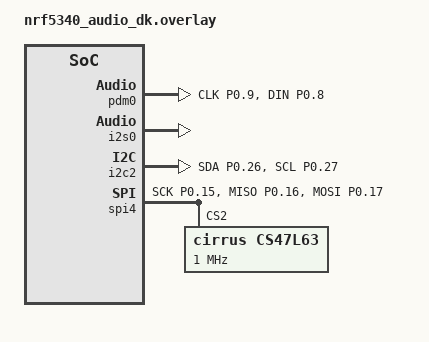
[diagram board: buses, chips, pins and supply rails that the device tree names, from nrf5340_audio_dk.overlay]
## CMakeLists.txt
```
cmake_minimum_required(VERSION 3.20.0)

find_package(Zephyr REQUIRED HINTS $ENV{ZEPHYR_BASE})
project(secondApp)

target_sources(app PRIVATE src/main.c)
```

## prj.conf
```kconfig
# Enable PDM peripheral and dependencies
CONFIG_NRFX_PDM0=y
CONFIG_DMA=y
CONFIG_I2S=y
CONFIG_I2C=y
CONFIG_I2C_NRFX=y
CONFIG_AUDIO_CODEC=y
CONFIG_I2S_NRFX=y
CONFIG_AUDIO=y
CONFIG_AUDIO_CODEC=y
CONFIG_AUDIO_DMIC=y
CONFIG_GPIO=y
# Optional: Enable logging for debugging
CONFIG_LOG=y
CONFIG_LOG_DEFAULT_LEVEL=3
CONFIG_FPU=y
CONFIG_LOG_BUFFER_SIZE=8192

# Increase stack size for processing
CONFIG_MAIN_STACK_SIZE=4096
CONFIG_HEAP_MEM_POOL_SIZE=2048

CONFIG_SPI=y
CONFIG_SPI_NRFX=y
```

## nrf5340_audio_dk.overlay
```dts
&pdm0 {
    status = "okay";
    pinctrl-0 = <&pdm_default>;
    pinctrl-names = "default";
};

&pinctrl {
    pdm_default: pdm_default {
        group1 {
            psels = <NRF_PSEL(PDM_CLK, 0, 9)>,
                    <NRF_PSEL(PDM_DIN, 0, 8)>;
        };
    };
    
    i2c2_default: i2c2_default {
        group1 {
            psels = <NRF_PSEL(TWIM_SDA, 0, 26)>,
                    <NRF_PSEL(TWIM_SCL, 0, 27)>;
            bias-pull-up;
        };
    };

    spi0_default: spi0_default {
        group1 {
            psels = <NRF_PSEL(SPIM_SCK, 0, 15)>,  /* SCK */
                    <NRF_PSEL(SPIM_MISO, 0, 16)>, /* MISO */
                    <NRF_PSEL(SPIM_MOSI, 0, 17)>; /* MOSI */
            bias-pull-up;
        };
    };
    spi0_sleep: spi0_sleep {
        group1 {
            psels = <NRF_PSEL(SPIM_SCK, 0, 15)>,  /* SCK */
                    <NRF_PSEL(SPIM_MISO, 0, 16)>, /* MISO */
                    <NRF_PSEL(SPIM_MOSI, 0, 17)>; /* MOSI */
            bias-pull-down;
        };
    };
};

&i2s0 {
    status = "okay";
};

&i2c2 {
    status = "okay";
    compatible = "nordic,nrf-twim";
    pinctrl-0 = <&i2c2_default>;
    pinctrl-names = "default";
};

&spi4 {
    status = "okay";
    pinctrl-0 = <&spi0_default>;
    pinctrl-names = "default", "sleep";

    cs47l63: cs47l63@2 {
        compatible = "cirrus,cs47l63";
        reg = <0x2>;  /* Chip Select */
        spi-max-frequency = <1000000>;  /* 1 MHz SPI speed */
        status = "okay";
    };
};
```

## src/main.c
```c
#include <nrfx_pdm.h>
#include <zephyr/kernel.h>
#include <zephyr/drivers/i2s.h>
#include <zephyr/drivers/i2c.h>
#include <zephyr/logging/log.h>
#include <zephyr/drivers/gpio.h>
#include <math.h>
#include <zephyr/drivers/spi.h>

LOG_MODULE_REGISTER(cs47l63_init, LOG_LEVEL_INF);


#define PDM_CLK_PIN 9  // Pin P0.09 for PDM clock
#define PDM_DIN_PIN 8  // Pin P0.08 for PDM data
#define I2S_DEV DEVICE_DT_GET(DT_NODELABEL(i2s0))
#define CODEC_DEV DEVICE_DT_GET(DT_NODELABEL(cs47l63))
#define CS47L63_ADDR 0x2  // I2C address of CS47L63

// Buffer for PDM audio data
static int16_t pdm_buffer[128];




#define CS47L63_SPI_DEV DEVICE_DT_GET(DT_NODELABEL(spi4))
#define CS47L63_CS_PIN  12  // Ensure this matches your overlay

#define CODEC_DEV DEVICE_DT_GET(DT_NODELABEL(cs47l63))
#define CS47L63_POWER_CTRL  0x0002
#define CS47L63_SAMPLE_RATE 0x0010
#define CS47L63_HEADPHONE   0x0020

void cs47l63_write_reg(uint16_t reg, uint16_t value) {
    struct spi_config spi_cfg = {
        .operation = SPI_OP_MODE_MASTER | SPI_TRANSFER_MSB | SPI_WORD_SET(8),
        .frequency = 1000000,  // 1 MHz SPI Clock
        .slave = 0,  // SPI device ID
    };

    uint8_t tx_data[4] = {
        (reg >> 8) & 0xFF, reg & 0xFF,
        (value >> 8) & 0xFF, value & 0xFF
    };

    struct spi_buf tx_buf = { .buf = tx_data, .len = sizeof(tx_data) };
    struct spi_buf_set tx = { .buffers = &tx_buf, .count = 1 };

    int ret = spi_transceive(CS47L63_SPI_DEV, &spi_cfg, &tx, NULL);
    if (ret) {
        LOG_ERR("Failed to write CS47L63 register: 0x%04X", reg);
    }
}

void init_cs47l63() {
    if (!device_is_ready(CS47L63_SPI_DEV)) {
        LOG_ERR("SPI device not ready!");
        return;
    }

    LOG_INF("Initializing CS47L63 Codec...");

    // Power on the codec
    cs47l63_write_reg(CS47L63_POWER_CTRL, 0x0001);
    
    // Set sample rate to 16kHz
    cs47l63_write_reg(CS47L63_SAMPLE_RATE, 0x3E80);  

    // Enable headphone output
    cs47l63_write_reg(CS47L63_HEADPHONE, 0x0001);

    LOG_INF("CS47L63 Initialized!");
}



//Send PCM data to the codec
void send_pcm_to_codec(int16_t *buffer, size_t size) {
    struct i2s_config i2s_cfg = {
        .word_size = 16,
        .channels = 2,  // Stereo output
        .format = I2S_FMT_DATA_FORMAT_I2S,
        .frame_clk_freq = 16000,  // Match PDM sample rate
    };

    i2s_configure(I2S_DEV, I2S_DIR_TX, &i2s_cfg);
    i2s_write(I2S_DEV, buffer, size * sizeof(int16_t));
}




// PDM instance
static nrfx_pdm_t pdm_instance = NRFX_PDM_INSTANCE(0);

static void pdm_event_handler(nrfx_pdm_evt_t const *event) {
    if (event->error) {
        LOG_ERR("PDM error: %d", event->error);
        return;
    }

    if (event->buffer_requested) {
        nrfx_pdm_buffer_set(&pdm_instance, pdm_buffer, ARRAY_SIZE(pdm_buffer));
    }

    if (event->buffer_released) {
        if (event->buffer_released == NULL) {
            LOG_ERR("PDM buffer is NULL!");
            return;
        }

        // Invert PCM signal
        for (size_t i = 0; i < ARRAY_SIZE(pdm_buffer); i++) {
            pdm_buffer[i] = -event->buffer_released[i];
        }

        // Send inverted PCM to CS47L63 via I2S
        send_pcm_to_codec(pdm_buffer, ARRAY_SIZE(pdm_buffer));
    }
}

int main(void) {
    

    nrfx_pdm_config_t pdm_config = NRFX_PDM_DEFAULT_CONFIG(PDM_CLK_PIN, PDM_DIN_PIN);
    pdm_config.clock_freq = NRF_PDM_FREQ_1333K;  // Set an appropriate clock frequency
    pdm_config.gain_l = NRF_PDM_GAIN_DEFAULT;
    pdm_config.gain_r = NRF_PDM_GAIN_DEFAULT;

    int ret = nrfx_pdm_init(&pdm_instance, &pdm_config, pdm_event_handler);
    if (ret != NRFX_SUCCESS) {
        LOG_ERR("Failed to initialize PDM: %d", ret);
        return -1;
    }

    ret = nrfx_pdm_start(&pdm_instance);
    if (ret != NRFX_SUCCESS) {
        LOG_ERR("Failed to start PDM: %d", ret);
        return -1;
    }

    init_cs47l63();

    while (1) {
        k_sleep(K_MSEC(1000));  // Add a delay to prevent CPU overuse
    }
    return 0;
}
```
